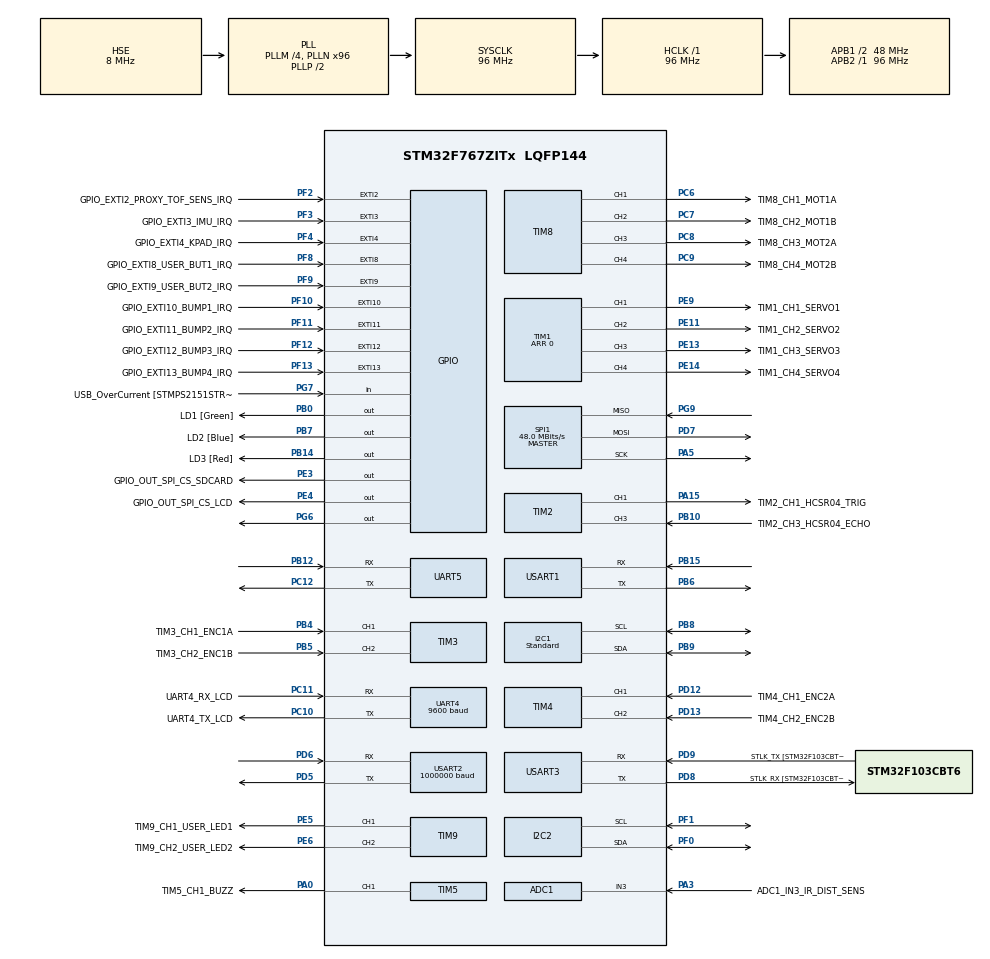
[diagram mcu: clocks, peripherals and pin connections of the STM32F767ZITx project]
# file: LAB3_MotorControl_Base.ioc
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ADC1.Channel-1\#ChannelRegularConversion=ADC_CHANNEL_3
ADC1.NbrOfConversionFlag=1
ADC1.Rank-1\#ChannelRegularConversion=1
ADC1.SamplingTime-1\#ChannelRegularConversion=ADC_SAMPLETIME_3CYCLES
ADC1.master=1
I2C1.I2C_Speed_Mode=I2C_Standard
I2C1.Timing=0x20303E5D
I2C2.Timing=0x20303E5D
Mcu.Family=STM32F7
Mcu.Name=STM32F767ZITx
Mcu.Package=LQFP144
Mcu.UserConstants=TIM3_ARR_VALUE,3839;TIM4_ARR_VALUE,3839;TIM8_PSC_VALUE,959;TIM8_ARR_VALUE,399;TIM6_PSC_VALUE,959;TIM6_ARR_VALUE,999;TIM1_PSC_VALUE,959;TIM1_ARR_VALUE,1999
NVIC.PriorityGroup=NVIC_PRIORITYGROUP_4
NVIC.TIM6_DAC_IRQn=true\:1\:0\:true\:false\:true\:true\:true\:true
PA0/WKUP.GPIO_Label=TIM5_CH1_BUZZ
PA0/WKUP.Signal=S_TIM5_CH1
PA1.GPIO_Label=RMII_REF_CLK [LAN8742A-CZ-TR_REFCLK0]
PA1.Signal=ETH_REF_CLK
PA10.GPIO_Label=USB_ID
PA10.Signal=USB_OTG_FS_ID
PA11.GPIO_Label=USB_DM
PA11.Signal=USB_OTG_FS_DM
PA12.GPIO_Label=USB_DP
PA12.Signal=USB_OTG_FS_DP
PA13.GPIO_Label=TMS
PA13.Mode=Serial_Wire
PA13.Signal=SYS_JTMS-SWDIO
PA14.GPIO_Label=TCK
PA14.Mode=Serial_Wire
PA14.Signal=SYS_JTCK-SWCLK
PA15.GPIO_Label=TIM2_CH1_HCSR04_TRIG
PA15.Signal=S_TIM2_CH1_ETR
PA2.GPIO_Label=RMII_MDIO [LAN8742A-CZ-TR_MDIO]
PA2.Signal=ETH_MDIO
PA3.GPIO_Label=ADC1_IN3_IR_DIST_SENS
PA3.Signal=ADCx_IN3
PA5.Mode=Full_Duplex_Master
PA5.Signal=SPI1_SCK
PA7.GPIO_Label=RMII_CRS_DV [LAN8742A-CZ-TR_CRS_DV]
PA7.Signal=ETH_CRS_DV
PA8.GPIO_Label=USB_SOF [TP1]
PA8.Signal=USB_OTG_FS_SOF
PA9.GPIO_Label=USB_VBUS
PA9.Signal=USB_OTG_FS_VBUS
PB0.GPIO_Label=LD1 [Green]
PB0.Signal=GPIO_Output
PB10.GPIO_Label=TIM2_CH3_HCSR04_ECHO
PB10.Signal=S_TIM2_CH3
PB12.Mode=Asynchronous
PB12.Signal=UART5_RX
PB13.GPIO_Label=RMII_TXD1 [LAN8742A-CZ-TR_TXD1]
PB13.Signal=ETH_TXD1
PB14.GPIO_Label=LD3 [Red]
PB14.Signal=GPIO_Output
PB15.Mode=Asynchronous
PB15.Signal=USART1_RX
PB3.GPIO_Label=SWO
PB3.Signal=SYS_JTDO-SWO
PB4.GPIO_Label=TIM3_CH1_ENC1A
PB4.Signal=S_TIM3_CH1
PB5.GPIO_Label=TIM3_CH2_ENC1B
PB5.Signal=S_TIM3_CH2
PB6.Mode=Asynchronous
PB6.Signal=USART1_TX
PB7.GPIO_Label=LD2 [Blue]
PB7.Signal=GPIO_Output
PB8.GPIO_Pu=GPIO_PULLUP
PB8.Mode=I2C
PB8.Signal=I2C1_SCL
PB9.GPIO_Pu=GPIO_PULLUP
PB9.Mode=I2C
PB9.Signal=I2C1_SDA
PC1.GPIO_Label=RMII_MDC [LAN8742A-CZ-TR_MDC]
PC1.Signal=ETH_MDC
PC10.GPIO_Label=UART4_TX_LCD
PC10.Mode=Asynchronous
PC10.Signal=UART4_TX
PC11.GPIO_Label=UART4_RX_LCD
PC11.Mode=Asynchronous
PC11.Signal=UART4_RX
PC12.Mode=Asynchronous
PC12.Signal=UART5_TX
PC14/OSC32_IN.Mode=LSE-External-Oscillator
PC14/OSC32_IN.Signal=RCC_OSC32_IN
PC15/OSC32_OUT.Mode=LSE-External-Oscillator
PC15/OSC32_OUT.Signal=RCC_OSC32_OUT
PC4.GPIO_Label=RMII_RXD0 [LAN8742A-CZ-TR_RXD0]
PC4.Signal=ETH_RXD0
PC5.GPIO_Label=RMII_RXD1 [LAN8742A-CZ-TR_RXD1]
PC5.Signal=ETH_RXD1
PC6.GPIO_Label=TIM8_CH1_MOT1A
PC6.Signal=S_TIM8_CH1
PC7.GPIO_Label=TIM8_CH2_MOT1B
PC7.Signal=S_TIM8_CH2
PC8.GPIO_Label=TIM8_CH3_MOT2A
PC8.Signal=S_TIM8_CH3
PC9.GPIO_Label=TIM8_CH4_MOT2B
PC9.Signal=S_TIM8_CH4
PD12.GPIO_Label=TIM4_CH1_ENC2A
PD12.Signal=S_TIM4_CH1
PD13.GPIO_Label=TIM4_CH2_ENC2B
PD13.Signal=S_TIM4_CH2
PD5.Mode=Asynchronous
PD5.Signal=USART2_TX
PD6.Mode=Asynchronous
PD6.Signal=USART2_RX
PD7.Mode=Full_Duplex_Master
PD7.Signal=SPI1_MOSI
PD8.GPIO_Label=STLK_RX [STM32F103CBT6_PA3]
PD8.Mode=Asynchronous
PD8.Signal=USART3_TX
PD9.GPIO_Label=STLK_TX [STM32F103CBT6_PA2]
PD9.Mode=Asynchronous
PD9.Signal=USART3_RX
PE11.GPIO_Label=TIM1_CH2_SERVO2
PE11.Signal=S_TIM1_CH2
PE13.GPIO_Label=TIM1_CH3_SERVO3
PE13.Signal=S_TIM1_CH3
PE14.GPIO_Label=TIM1_CH4_SERVO4
PE14.Signal=S_TIM1_CH4
PE3.GPIO_Label=GPIO_OUT_SPI_CS_SDCARD
PE3.Signal=GPIO_Output
PE4.GPIO_Label=GPIO_OUT_SPI_CS_LCD
PE4.Signal=GPIO_Output
PE5.GPIO_Label=TIM9_CH1_USER_LED1
PE5.Signal=S_TIM9_CH1
PE6.GPIO_Label=TIM9_CH2_USER_LED2
PE6.Signal=S_TIM9_CH2
PE9.GPIO_Label=TIM1_CH1_SERVO1
PE9.Signal=S_TIM1_CH1
PF0.GPIO_Pu=GPIO_PULLUP
PF0.Mode=I2C
PF0.Signal=I2C2_SDA
PF1.GPIO_Pu=GPIO_PULLUP
PF1.Mode=I2C
PF1.Signal=I2C2_SCL
PF10.GPIO_Label=GPIO_EXTI10_BUMP1_IRQ
PF10.Signal=GPXTI10
PF11.GPIO_Label=GPIO_EXTI11_BUMP2_IRQ
PF11.Signal=GPXTI11
PF12.GPIO_Label=GPIO_EXTI12_BUMP3_IRQ
PF12.Signal=GPXTI12
PF13.GPIO_Label=GPIO_EXTI13_BUMP4_IRQ
PF13.Signal=GPXTI13
PF2.GPIO_Label=GPIO_EXTI2_PROXY_TOF_SENS_IRQ
PF2.Signal=GPXTI2
PF3.GPIO_Label=GPIO_EXTI3_IMU_IRQ
PF3.Signal=GPXTI3
PF4.GPIO_Label=GPIO_EXTI4_KPAD_IRQ
PF4.Signal=GPXTI4
PF8.GPIO_Label=GPIO_EXTI8_USER_BUT1_IRQ
PF8.Signal=GPXTI8
PF9.GPIO_Label=GPIO_EXTI9_USER_BUT2_IRQ
PF9.Signal=GPXTI9
PG11.GPIO_Label=RMII_TX_EN [LAN8742A-CZ-TR_TXEN]
PG11.Signal=ETH_TX_EN
PG13.GPIO_Label=RMII_TXD0 [LAN8742A-CZ-TR_TXD0]
PG13.Signal=ETH_TXD0
PG6.Signal=GPIO_Output
PG7.GPIO_Label=USB_OverCurrent [STMPS2151STR_FAULT]
PG7.Signal=GPIO_Input
PG9.Mode=Full_Duplex_Master
PG9.Signal=SPI1_MISO
PH0/OSC_IN.GPIO_Label=MCO [STM32F103CBT6_PA8]
PH0/OSC_IN.Mode=HSE-External-Clock-Source
PH0/OSC_IN.Signal=RCC_OSC_IN
PH1/OSC_OUT.Mode=HSE-External-Clock-Source
PH1/OSC_OUT.Signal=RCC_OSC_OUT
ProjectManager.HeapSize=0x200
ProjectManager.StackSize=0x400
ProjectManager.TargetToolchain=STM32CubeIDE
RCC.48MHZClocksFreq_Value=24000000
RCC.AHBFreq_Value=96000000
RCC.APB1CLKDivider=RCC_HCLK_DIV2
RCC.APB1Freq_Value=48000000
RCC.APB1TimFreq_Value=96000000
RCC.APB2Freq_Value=96000000
RCC.APB2TimFreq_Value=96000000
RCC.CortexFreq_Value=96000000
RCC.HCLKFreq_Value=96000000
RCC.HSE_VALUE=8000000
RCC.HSI_VALUE=16000000
RCC.PLLM=4
RCC.PLLMUL=RCC_PLL_MUL9
RCC.PLLN=96
RCC.PLLQ=4
RCC.PLLSourceVirtual=RCC_PLLSOURCE_HSE
RCC.PRESCALERUSB=RCC_USBCLKSOURCE_PLL_DIV1_5
RCC.SYSCLKFreq_VALUE=96000000
RCC.SYSCLKSource=RCC_SYSCLKSOURCE_PLLCLK
RCC.SYSCLKSourceVirtual=RCC_SYSCLKSOURCE_PLLCLK
RCC.USBFreq_Value=48000000
RCC.VCOOutputFreq_Value=192000000
SH.ADCx_IN3.0=ADC1_IN3,IN3
SH.S_TIM1_CH1.0=TIM1_CH1,Forced Output1 CH1
SH.S_TIM1_CH2.0=TIM1_CH2,Forced Output2 CH2
SH.S_TIM1_CH3.0=TIM1_CH3,Forced Output3 CH3
SH.S_TIM1_CH4.0=TIM1_CH4,Forced Output4 CH4
SH.S_TIM2_CH1_ETR.0=TIM2_CH1,PWM Generation1 CH1
SH.S_TIM2_CH3.0=TIM2_CH3,Input_Capture3_from_TI3
SH.S_TIM3_CH1.0=TIM3_CH1,Encoder_Interface
SH.S_TIM3_CH2.0=TIM3_CH2,Encoder_Interface
SH.S_TIM4_CH1.0=TIM4_CH1,Encoder_Interface
SH.S_TIM4_CH2.0=TIM4_CH2,Encoder_Interface
SH.S_TIM5_CH1.0=TIM5_CH1,PWM Generation1 CH1
SH.S_TIM8_CH1.0=TIM8_CH1,PWM Generation1 CH1
SH.S_TIM8_CH2.0=TIM8_CH2,PWM Generation2 CH2
SH.S_TIM8_CH3.0=TIM8_CH3,PWM Generation3 CH3
SH.S_TIM8_CH4.0=TIM8_CH4,PWM Generation4 CH4
SH.S_TIM9_CH1.0=TIM9_CH1,PWM Generation1 CH1
SH.S_TIM9_CH2.0=TIM9_CH2,PWM Generation2 CH2
SPI1.CalculateBaudRate=48.0 MBits/s
SPI1.Direction=SPI_DIRECTION_2LINES
SPI1.Mode=SPI_MODE_MASTER
SPI1.VirtualType=VM_MASTER
TIM1.Channel-Forced\ Output1\ CH1=TIM_CHANNEL_1
TIM1.Channel-Forced\ Output2\ CH2=TIM_CHANNEL_2
TIM1.Channel-Forced\ Output3\ CH3=TIM_CHANNEL_3
TIM1.Channel-Forced\ Output4\ CH4=TIM_CHANNEL_4
TIM1.OCPolarity_1=TIM_OCPOLARITY_LOW
TIM1.OCPolarity_2=TIM_OCPOLARITY_LOW
TIM1.OCPolarity_3=TIM_OCPOLARITY_LOW
TIM1.OCPolarity_4=TIM_OCPOLARITY_LOW
TIM1.Period=0
TIM2.Channel-Input_Capture3_from_TI3=TIM_CHANNEL_3
TIM2.Channel-PWM\ Generation1\ CH1=TIM_CHANNEL_1
TIM3.EncoderMode=TIM_ENCODERMODE_TI12
TIM3.IC1Filter=15
TIM3.IC2Filter=15
TIM3.Period=TIM3_ARR_VALUE
TIM4.EncoderMode=TIM_ENCODERMODE_TI12
TIM4.IC1Filter=15
TIM4.IC2Filter=15
TIM4.Period=TIM4_ARR_VALUE
TIM5.Channel-PWM\ Generation1\ CH1=TIM_CHANNEL_1
TIM6.Period=TIM6_ARR_VALUE
TIM6.Prescaler=TIM6_PSC_VALUE
TIM8.Channel-PWM\ Generation1\ CH1=TIM_CHANNEL_1
TIM8.Channel-PWM\ Generation2\ CH2=TIM_CHANNEL_2
TIM8.Channel-PWM\ Generation3\ CH3=TIM_CHANNEL_3
TIM8.Channel-PWM\ Generation4\ CH4=TIM_CHANNEL_4
TIM8.Period=TIM8_ARR_VALUE
TIM8.Prescaler=TIM8_PSC_VALUE
TIM9.Channel-PWM\ Generation1\ CH1=TIM_CHANNEL_1
TIM9.Channel-PWM\ Generation2\ CH2=TIM_CHANNEL_2
UART4.BaudRate=9600
USART1.VirtualMode-Asynchronous=VM_ASYNC
USART2.BaudRate=1000000
USART2.VirtualMode-Asynchronous=VM_ASYNC
USART3.VirtualMode-Asynchronous=VM_ASYNC
VP_TIM1_VS_ClockSourceINT.Mode=Internal
VP_TIM2_VS_ClockSourceINT.Mode=Internal
VP_TIM5_VS_ClockSourceINT.Mode=Internal
VP_TIM6_VS_ClockSourceINT.Mode=Enable_Timer
VP_TIM8_VS_ClockSourceINT.Mode=Internal
board=NUCLEO-F767ZI

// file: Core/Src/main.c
/* USER CODE BEGIN Header */
/**
  ******************************************************************************
  * @file           : main.c
  * @brief          : Main program body
  ******************************************************************************
  * @attention
  *
  * <h2><center>&copy; Copyright (c) 2021 STMicroelectronics.
  * All rights reserved.</center></h2>
  *
  * This software component is licensed by ST under BSD 3-Clause license,
  * the "License"; You may not use this file except in compliance with the
  * License. You may obtain a copy of the License at:
  *                        opensource.org/licenses/BSD-3-Clause
  *
  ******************************************************************************
  */
/* USER CODE END Header */
#include "main.h"

/* USER CODE BEGIN Includes */
#include <math.h>
#include <stdbool.h>
#include "ertc-datalogger.h"
/* USER CODE END Includes */

/* USER CODE BEGIN PD */
//#define	HAL_TIMEOUT		1
#define TS	0.01

#define VBATT	8.0
#define V2DUTY	((float)(TIM8_ARR_VALUE+1)/VBATT)
#define DUTY2V	((float)VBATT/(TIM8_ARR_VALUE+1))

#define RPM2RADS	2*M_PI/60

#define TIM3_ARR_VALUE 3840 // assuming we are using 4X encoder mode
#define TIM4_ARR_VALUE 3840 // assuming we are using 4X encoder mode

/* USER CODE END PD */

ADC_HandleTypeDef hadc1;

I2C_HandleTypeDef hi2c1;
I2C_HandleTypeDef hi2c2;

SPI_HandleTypeDef hspi1;

TIM_HandleTypeDef htim1;
TIM_HandleTypeDef htim2;
TIM_HandleTypeDef htim3;
TIM_HandleTypeDef htim4;
TIM_HandleTypeDef htim5;
TIM_HandleTypeDef htim6;
TIM_HandleTypeDef htim8;
TIM_HandleTypeDef htim9;

UART_HandleTypeDef huart4;
UART_HandleTypeDef huart5;
UART_HandleTypeDef huart1;
UART_HandleTypeDef huart2;
UART_HandleTypeDef huart3;

/* USER CODE BEGIN PV */
struct ertc_dlog logger;
/* USER CODE END PV */

void SystemClock_Config(void);
static void MX_GPIO_Init(void);
static void MX_USART3_UART_Init(void);
static void MX_ADC1_Init(void);
static void MX_I2C1_Init(void);
static void MX_I2C2_Init(void);
static void MX_SPI1_Init(void);
static void MX_TIM1_Init(void);
static void MX_TIM2_Init(void);
static void MX_TIM3_Init(void);
static void MX_TIM4_Init(void);
static void MX_TIM5_Init(void);
static void MX_TIM8_Init(void);
static void MX_UART4_Init(void);
static void MX_UART5_Init(void);
static void MX_USART1_UART_Init(void);
static void MX_USART2_UART_Init(void);
static void MX_TIM9_Init(void);
static void MX_TIM6_Init(void);
/* USER CODE BEGIN PFP */

float PI_controller (float error);

/* USER CODE END PFP */

/* USER CODE BEGIN 0 */
float controller_return_R ,motor_V_R  ,tracking_error_R;
float controller_return_L ,motor_V_L ,tracking_error_L;
float reference_rpm_R = 20 , reference_rpm_L = 20;

struct datalog {
	float w1, w2 , u1, u2;
	float x1, x2 , y1, y2;
} data;

void HAL_TIM_PeriodElapsedCallback(TIM_HandleTypeDef *htim)
{
	/* Speed ctrl routine */
	if(htim->Instance == TIM6)
	{
		uint32_t TIM3_CurrentCount , TIM4_CurrentCount;
				int32_t TIM3_DiffCount , TIM4_DiffCount;
				static uint32_t TIM3_PreviousCount = 0, TIM4_PreviousCount = 0;

		    // read the counter value from the encoder
				TIM3_CurrentCount = __HAL_TIM_GET_COUNTER(&htim3);
				TIM4_CurrentCount = __HAL_TIM_GET_COUNTER(&htim4);

		    //compute the difference between the current value and the old value
				/*  evaluate increment of TIM3 counter from previous count  */
				if (__HAL_TIM_IS_TIM_COUNTING_DOWN(&htim3)) // right motor
				{
					/* check for counter underflow */
					if (TIM3_CurrentCount <= TIM3_PreviousCount)
						TIM3_DiffCount = TIM3_CurrentCount - TIM3_PreviousCount;
					else
						TIM3_DiffCount = -((TIM3_ARR_VALUE+1) - TIM3_CurrentCount) - TIM3_PreviousCount;
				}
				else
				{
				  /* check for counter overflow */
					if (TIM3_CurrentCount >= TIM3_PreviousCount)
						TIM3_DiffCount = TIM3_CurrentCount - TIM3_PreviousCount;
					else
						TIM3_DiffCount = ((TIM3_ARR_VALUE+1) - TIM3_PreviousCount) + TIM3_CurrentCount;
				}

				TIM3_PreviousCount = TIM3_CurrentCount;

				/*  evaluate increment of TIM4 counter from previous count  */
				if (__HAL_TIM_IS_TIM_COUNTING_DOWN(&htim4)) // left motor
				{
					/* check for counter underflow */
					if (TIM4_CurrentCount <= TIM4_PreviousCount)
						TIM4_DiffCount = TIM4_CurrentCount - TIM4_PreviousCount;
					else
						TIM4_DiffCount = -((TIM4_ARR_VALUE+1) - TIM4_CurrentCount) - TIM4_PreviousCount;
				}
				else
				{
				/* check for counter overflow */
					if (TIM4_CurrentCount >= TIM4_PreviousCount)
						TIM4_DiffCount = TIM4_CurrentCount - TIM4_PreviousCount;
					else
						TIM4_DiffCount = ((TIM4_ARR_VALUE+1) - TIM4_PreviousCount) + TIM4_CurrentCount;
				}

				TIM4_PreviousCount = TIM4_CurrentCount;

		    // compute the motor speed in [rpm]
				float current_rpm_R = ((float)TIM3_DiffCount/(2.0*1920.0))*(60.0/TS );
			  tracking_error_R = reference_rpm_R - current_rpm_R;

				float current_rpm_L = ((float)TIM4_DiffCount/(2.0*1920.0))*(60.0/TS );
			  tracking_error_L = reference_rpm_L - current_rpm_L;

		    // compute the tracking error via PI controller
		    controller_return_R = PI_controller(tracking_error_R);
		    controller_return_L = PI_controller(tracking_error_L);

		    motor_V_R = controller_return_R;
		    motor_V_L = controller_return_L;

			     //anti windup

				if(motor_V_R > 4)
					motor_V_R = 4;
				if(motor_V_R < -4)
					motor_V_R = -4;

			    if(motor_V_L > 4)
			    	motor_V_L = 4;
			    if(motor_V_L < -4)
			    	motor_V_L = -4;

		    // calculate duty cycle for motor
		    int32_t duty_R = V2DUTY*motor_V_R;
		    int32_t duty_L = V2DUTY*motor_V_L;

		    if (duty_R > 399)
		      duty_R = 399;

				/* calculate duty properly */
				if (duty_R >= 0) { // rotate forward
					// alternate between forward and coast
					//__HAL_TIM_SET_COMPARE(&htim8, TIM_CHANNEL_1, (uint32_t)duty_R);
					//__HAL_TIM_SET_COMPARE(&htim8, TIM_CHANNEL_2, 0);

					// alternate between forward and brake, TIM8_ARR_VALUE is a define
					__HAL_TIM_SET_COMPARE(&htim8, TIM_CHANNEL_1, (uint32_t)TIM8_ARR_VALUE);
					__HAL_TIM_SET_COMPARE(&htim8, TIM_CHANNEL_2, (uint32_t)(TIM8_ARR_VALUE - duty_R));
				} else { // rotate backward
					__HAL_TIM_SET_COMPARE(&htim8, TIM_CHANNEL_1, 0);
					__HAL_TIM_SET_COMPARE(&htim8, TIM_CHANNEL_2, (uint32_t)-duty_R);
				}

		    if (duty_L > 399)
		          duty_L = 399;

				/* calculate duty properly */
				if (duty_L >= 0) { // rotate forward
					// alternate between forward and coast
					//__HAL_TIM_SET_COMPARE(&htim8, TIM_CHANNEL_3, (uint32_t)duty_L);
			    //__HAL_TIM_SET_COMPARE(&htim8, TIM_CHANNEL_4, 0);

					// alternate between forward and brake, TIM8_ARR_VALUE is a define
					__HAL_TIM_SET_COMPARE(&htim8, TIM_CHANNEL_3, (uint32_t)TIM8_ARR_VALUE);
					__HAL_TIM_SET_COMPARE(&htim8, TIM_CHANNEL_4, (uint32_t)(TIM8_ARR_VALUE - duty_L));
				} else { // rotate backward
					__HAL_TIM_SET_COMPARE(&htim8, TIM_CHANNEL_3, 0);
					__HAL_TIM_SET_COMPARE(&htim8, TIM_CHANNEL_4, (uint32_t)-duty_L);
				}

     	/*	Prepare data packet */
		data.w1 = reference_rpm_R;
		data.w2 = current_rpm_R;
		data.u1 = tracking_error_R;
		data.u2 = controller_return_R;

		data.x1 = reference_rpm_L;
		data.x2 = current_rpm_L;
		data.y1 = tracking_error_L;
		data.y2 = controller_return_L;

		ertc_dlog_send(&logger, &data, sizeof(data));
	}
}

float Kp = 0.34;
float KI = 0.2;

float PI_controller (float error){
	float P = Kp * error;
	static float I = 0;
	I = I + error * KI * TS;
	if(I>10){ // anti windup
		I=10;
	}
	return P + I;
}
/* USER CODE END 0 */

int main(void)
{

  /* MCU Configuration--------------------------------------------------------*/

  /* Reset of all peripherals, Initializes the Flash interface and the Systick. */
  HAL_Init();

  /* Configure the system clock */
  SystemClock_Config();

  /* Initialize all configured peripherals */
  MX_GPIO_Init();
  MX_USART3_UART_Init();
  MX_ADC1_Init();
  MX_I2C1_Init();
  MX_I2C2_Init();
  MX_SPI1_Init();
  MX_TIM1_Init();
  MX_TIM2_Init();
  MX_TIM3_Init();
  MX_TIM4_Init();
  MX_TIM5_Init();
  MX_TIM8_Init();
  MX_UART4_Init();
  MX_UART5_Init();
  MX_USART1_UART_Init();
  MX_USART2_UART_Init();
  MX_TIM9_Init();
  MX_TIM6_Init();
  /* USER CODE BEGIN 2 */

  logger.uart_handle = huart3; // for serial
  //logger.uart_handle = huart2; // for wifi

  /* Reset LCD */
  HAL_GPIO_WritePin(GPIO_OUT_SPI_CS_LCD_GPIO_Port, GPIO_OUT_SPI_CS_LCD_Pin, GPIO_PIN_SET);

  HAL_Delay(1000);

  /* Start encoders timers */
  HAL_TIM_Encoder_Start(&htim3, TIM_CHANNEL_ALL);
  HAL_TIM_Encoder_Start(&htim4, TIM_CHANNEL_ALL);

  /* Start servomotors PWM (avoid floating inputs to servomotors) */
  HAL_TIM_PWM_Start(&htim1, TIM_CHANNEL_1);
  HAL_TIM_PWM_Start(&htim1, TIM_CHANNEL_2);
  HAL_TIM_PWM_Start(&htim1, TIM_CHANNEL_3);
  HAL_TIM_PWM_Start(&htim1, TIM_CHANNEL_4);

  /* Start motor PWM */
  __HAL_TIM_SET_COMPARE(&htim8, TIM_CHANNEL_1, 0);
  __HAL_TIM_SET_COMPARE(&htim8, TIM_CHANNEL_2, 0);
  __HAL_TIM_SET_COMPARE(&htim8, TIM_CHANNEL_3, 0);
  __HAL_TIM_SET_COMPARE(&htim8, TIM_CHANNEL_4, 0);

  HAL_TIM_PWM_Start(&htim8, TIM_CHANNEL_1);
  HAL_TIM_PWM_Start(&htim8, TIM_CHANNEL_2);
  HAL_TIM_PWM_Start(&htim8, TIM_CHANNEL_3);
  HAL_TIM_PWM_Start(&htim8, TIM_CHANNEL_4);

  /* Start speed ctrl ISR */
  HAL_TIM_Base_Start_IT(&htim6);

  /* USER CODE END 2 */

  /* Infinite loop */
  while (1)
  {

    /* USER CODE BEGIN 3 */
	  ertc_dlog_update(&logger);

  }
  /* USER CODE END 3 */
}

void SystemClock_Config(void)
{
  RCC_OscInitTypeDef RCC_OscInitStruct = {0};
  RCC_ClkInitTypeDef RCC_ClkInitStruct = {0};

  /** Configure LSE Drive Capability
  */
  HAL_PWR_EnableBkUpAccess();

  /** Configure the main internal regulator output voltage
  */
  __HAL_RCC_PWR_CLK_ENABLE();
  __HAL_PWR_VOLTAGESCALING_CONFIG(PWR_REGULATOR_VOLTAGE_SCALE3);

  /** Initializes the RCC Oscillators according to the specified parameters
  * in the RCC_OscInitTypeDef structure.
  */
  RCC_OscInitStruct.OscillatorType = RCC_OSCILLATORTYPE_HSE;
  RCC_OscInitStruct.HSEState = RCC_HSE_BYPASS;
  RCC_OscInitStruct.PLL.PLLState = RCC_PLL_ON;
  RCC_OscInitStruct.PLL.PLLSource = RCC_PLLSOURCE_HSE;
  RCC_OscInitStruct.PLL.PLLM = 4;
  RCC_OscInitStruct.PLL.PLLN = 96;
  RCC_OscInitStruct.PLL.PLLP = RCC_PLLP_DIV2;
  RCC_OscInitStruct.PLL.PLLQ = 4;
  RCC_OscInitStruct.PLL.PLLR = 2;
  if (HAL_RCC_OscConfig(&RCC_OscInitStruct) != HAL_OK)
  {
    Error_Handler();
  }

  /** Activate the Over-Drive mode
  */
  if (HAL_PWREx_EnableOverDrive() != HAL_OK)
  {
    Error_Handler();
  }

  /** Initializes the CPU, AHB and APB buses clocks
  */
  RCC_ClkInitStruct.ClockType = RCC_CLOCKTYPE_HCLK|RCC_CLOCKTYPE_SYSCLK
                              |RCC_CLOCKTYPE_PCLK1|RCC_CLOCKTYPE_PCLK2;
  RCC_ClkInitStruct.SYSCLKSource = RCC_SYSCLKSOURCE_PLLCLK;
  RCC_ClkInitStruct.AHBCLKDivider = RCC_SYSCLK_DIV1;
  RCC_ClkInitStruct.APB1CLKDivider = RCC_HCLK_DIV2;
  RCC_ClkInitStruct.APB2CLKDivider = RCC_HCLK_DIV1;

  if (HAL_RCC_ClockConfig(&RCC_ClkInitStruct, FLASH_LATENCY_3) != HAL_OK)
  {
    Error_Handler();
  }
}

static void MX_ADC1_Init(void)
{

  ADC_ChannelConfTypeDef sConfig = {0};

  /** Configure the global features of the ADC (Clock, Resolution, Data Alignment and number of conversion)
  */
  hadc1.Instance = ADC1;
  hadc1.Init.ClockPrescaler = ADC_CLOCK_SYNC_PCLK_DIV4;
  hadc1.Init.Resolution = ADC_RESOLUTION_12B;
  hadc1.Init.ScanConvMode = ADC_SCAN_DISABLE;
  hadc1.Init.ContinuousConvMode = DISABLE;
  hadc1.Init.DiscontinuousConvMode = DISABLE;
  hadc1.Init.ExternalTrigConvEdge = ADC_EXTERNALTRIGCONVEDGE_NONE;
  hadc1.Init.ExternalTrigConv = ADC_SOFTWARE_START;
  hadc1.Init.DataAlign = ADC_DATAALIGN_RIGHT;
  hadc1.Init.NbrOfConversion = 1;
  hadc1.Init.DMAContinuousRequests = DISABLE;
  hadc1.Init.EOCSelection = ADC_EOC_SINGLE_CONV;
  if (HAL_ADC_Init(&hadc1) != HAL_OK)
  {
    Error_Handler();
  }

  /** Configure for the selected ADC regular channel its corresponding rank in the sequencer and its sample time.
  */
  sConfig.Channel = ADC_CHANNEL_3;
  sConfig.Rank = ADC_REGULAR_RANK_1;
  sConfig.SamplingTime = ADC_SAMPLETIME_3CYCLES;
  if (HAL_ADC_ConfigChannel(&hadc1, &sConfig) != HAL_OK)
  {
    Error_Handler();
  }

}

static void MX_I2C1_Init(void)
{

  hi2c1.Instance = I2C1;
  hi2c1.Init.Timing = 0x20303E5D;
  hi2c1.Init.OwnAddress1 = 0;
  hi2c1.Init.AddressingMode = I2C_ADDRESSINGMODE_7BIT;
  hi2c1.Init.DualAddressMode = I2C_DUALADDRESS_DISABLE;
  hi2c1.Init.OwnAddress2 = 0;
  hi2c1.Init.OwnAddress2Masks = I2C_OA2_NOMASK;
  hi2c1.Init.GeneralCallMode = I2C_GENERALCALL_DISABLE;
  hi2c1.Init.NoStretchMode = I2C_NOSTRETCH_DISABLE;
  if (HAL_I2C_Init(&hi2c1) != HAL_OK)
  {
    Error_Handler();
  }

  /** Configure Analogue filter
  */
  if (HAL_I2CEx_ConfigAnalogFilter(&hi2c1, I2C_ANALOGFILTER_ENABLE) != HAL_OK)
  {
    Error_Handler();
  }

  /** Configure Digital filter
  */
  if (HAL_I2CEx_ConfigDigitalFilter(&hi2c1, 0) != HAL_OK)
  {
    Error_Handler();
  }

}

static void MX_I2C2_Init(void)
{

  hi2c2.Instance = I2C2;
  hi2c2.Init.Timing = 0x20303E5D;
  hi2c2.Init.OwnAddress1 = 0;
  hi2c2.Init.AddressingMode = I2C_ADDRESSINGMODE_7BIT;
  hi2c2.Init.DualAddressMode = I2C_DUALADDRESS_DISABLE;
  hi2c2.Init.OwnAddress2 = 0;
  hi2c2.Init.OwnAddress2Masks = I2C_OA2_NOMASK;
  hi2c2.Init.GeneralCallMode = I2C_GENERALCALL_DISABLE;
  hi2c2.Init.NoStretchMode = I2C_NOSTRETCH_DISABLE;
  if (HAL_I2C_Init(&hi2c2) != HAL_OK)
  {
    Error_Handler();
  }

  /** Configure Analogue filter
  */
  if (HAL_I2CEx_ConfigAnalogFilter(&hi2c2, I2C_ANALOGFILTER_ENABLE) != HAL_OK)
  {
    Error_Handler();
  }

  /** Configure Digital filter
  */
  if (HAL_I2CEx_ConfigDigitalFilter(&hi2c2, 0) != HAL_OK)
  {
    Error_Handler();
  }

}

static void MX_SPI1_Init(void)
{

  /* SPI1 parameter configuration*/
  hspi1.Instance = SPI1;
  hspi1.Init.Mode = SPI_MODE_MASTER;
  hspi1.Init.Direction = SPI_DIRECTION_2LINES;
  hspi1.Init.DataSize = SPI_DATASIZE_4BIT;
  hspi1.Init.CLKPolarity = SPI_POLARITY_LOW;
  hspi1.Init.CLKPhase = SPI_PHASE_1EDGE;
  hspi1.Init.NSS = SPI_NSS_SOFT;
  hspi1.Init.BaudRatePrescaler = SPI_BAUDRATEPRESCALER_2;
  hspi1.Init.FirstBit = SPI_FIRSTBIT_MSB;
  hspi1.Init.TIMode = SPI_TIMODE_DISABLE;
  hspi1.Init.CRCCalculation = SPI_CRCCALCULATION_DISABLE;
  hspi1.Init.CRCPolynomial = 7;
  hspi1.Init.CRCLength = SPI_CRC_LENGTH_DATASIZE;
  hspi1.Init.NSSPMode = SPI_NSS_PULSE_ENABLE;
  if (HAL_SPI_Init(&hspi1) != HAL_OK)
  {
    Error_Handler();
  }

}

static void MX_TIM1_Init(void)
{

  TIM_ClockConfigTypeDef sClockSourceConfig = {0};
  TIM_MasterConfigTypeDef sMasterConfig = {0};
  TIM_OC_InitTypeDef sConfigOC = {0};
  TIM_BreakDeadTimeConfigTypeDef sBreakDeadTimeConfig = {0};

  htim1.Instance = TIM1;
  htim1.Init.Prescaler = 0;
  htim1.Init.CounterMode = TIM_COUNTERMODE_UP;
  htim1.Init.Period = 0;
  htim1.Init.ClockDivision = TIM_CLOCKDIVISION_DIV1;
  htim1.Init.RepetitionCounter = 0;
  htim1.Init.AutoReloadPreload = TIM_AUTORELOAD_PRELOAD_DISABLE;
  if (HAL_TIM_Base_Init(&htim1) != HAL_OK)
  {
    Error_Handler();
  }
  sClockSourceConfig.ClockSource = TIM_CLOCKSOURCE_INTERNAL;
  if (HAL_TIM_ConfigClockSource(&htim1, &sClockSourceConfig) != HAL_OK)
  {
    Error_Handler();
  }
  if (HAL_TIM_OC_Init(&htim1) != HAL_OK)
  {
    Error_Handler();
  }
  sMasterConfig.MasterOutputTrigger = TIM_TRGO_RESET;
  sMasterConfig.MasterOutputTrigger2 = TIM_TRGO2_RESET;
  sMasterConfig.MasterSlaveMode = TIM_MASTERSLAVEMODE_DISABLE;
  if (HAL_TIMEx_MasterConfigSynchronization(&htim1, &sMasterConfig) != HAL_OK)
  {
    Error_Handler();
  }
  sConfigOC.OCMode = TIM_OCMODE_FORCED_ACTIVE;
  sConfigOC.Pulse = 0;
  sConfigOC.OCPolarity = TIM_OCPOLARITY_LOW;
  sConfigOC.OCNPolarity = TIM_OCNPOLARITY_HIGH;
  sConfigOC.OCFastMode = TIM_OCFAST_DISABLE;
  sConfigOC.OCIdleState = TIM_OCIDLESTATE_RESET;
  sConfigOC.OCNIdleState = TIM_OCNIDLESTATE_RESET;
  if (HAL_TIM_OC_ConfigChannel(&htim1, &sConfigOC, TIM_CHANNEL_1) != HAL_OK)
  {
    Error_Handler();
  }
  if (HAL_TIM_OC_ConfigChannel(&htim1, &sConfigOC, TIM_CHANNEL_2) != HAL_OK)
  {
    Error_Handler();
  }
  if (HAL_TIM_OC_ConfigChannel(&htim1, &sConfigOC, TIM_CHANNEL_3) != HAL_OK)
  {
    Error_Handler();
  }
  if (HAL_TIM_OC_ConfigChannel(&htim1, &sConfigOC, TIM_CHANNEL_4) != HAL_OK)
  {
    Error_Handler();
  }
  sBreakDeadTimeConfig.OffStateRunMode = TIM_OSSR_DISABLE;
  sBreakDeadTimeConfig.OffStateIDLEMode = TIM_OSSI_DISABLE;
  sBreakDeadTimeConfig.LockLevel = TIM_LOCKLEVEL_OFF;
  sBreakDeadTimeConfig.DeadTime = 0;
  sBreakDeadTimeConfig.BreakState = TIM_BREAK_DISABLE;
  sBreakDeadTimeConfig.BreakPolarity = TIM_BREAKPOLARITY_HIGH;
  sBreakDeadTimeConfig.BreakFilter = 0;
  sBreakDeadTimeConfig.Break2State = TIM_BREAK2_DISABLE;
  sBreakDeadTimeConfig.Break2Polarity = TIM_BREAK2POLARITY_HIGH;
  sBreakDeadTimeConfig.Break2Filter = 0;
  sBreakDeadTimeConfig.AutomaticOutput = TIM_AUTOMATICOUTPUT_DISABLE;
  if (HAL_TIMEx_ConfigBreakDeadTime(&htim1, &sBreakDeadTimeConfig) != HAL_OK)
  {
    Error_Handler();
  }
  HAL_TIM_MspPostInit(&htim1);

}

static void MX_TIM2_Init(void)
{

  TIM_ClockConfigTypeDef sClockSourceConfig = {0};
  TIM_MasterConfigTypeDef sMasterConfig = {0};
  TIM_OC_InitTypeDef sConfigOC = {0};
  TIM_IC_InitTypeDef sConfigIC = {0};

  htim2.Instance = TIM2;
  htim2.Init.Prescaler = 0;
  htim2.Init.CounterMode = TIM_COUNTERMODE_UP;
  htim2.Init.Period = 4294967295;
  htim2.Init.ClockDivision = TIM_CLOCKDIVISION_DIV1;
  htim2.Init.AutoReloadPreload = TIM_AUTORELOAD_PRELOAD_DISABLE;
  if (HAL_TIM_Base_Init(&htim2) != HAL_OK)
  {
    Error_Handler();
  }
  sClockSourceConfig.ClockSource = TIM_CLOCKSOURCE_INTERNAL;
  if (HAL_TIM_ConfigClockSource(&htim2, &sClockSourceConfig) != HAL_OK)
  {
    Error_Handler();
  }
  if (HAL_TIM_PWM_Init(&htim2) != HAL_OK)
  {
    Error_Handler();
  }
  if (HAL_TIM_IC_Init(&htim2) != HAL_OK)
  {
    Error_Handler();
  }
  sMasterConfig.MasterOutputTrigger = TIM_TRGO_RESET;
  sMasterConfig.MasterSlaveMode = TIM_MASTERSLAVEMODE_DISABLE;
  if (HAL_TIMEx_MasterConfigSynchronization(&htim2, &sMasterConfig) != HAL_OK)
  {
    Error_Handler();
  }
  sConfigOC.OCMode = TIM_OCMODE_PWM1;
  sConfigOC.Pulse = 0;
  sConfigOC.OCPolarity = TIM_OCPOLARITY_HIGH;
  sConfigOC.OCFastMode = TIM_OCFAST_DISABLE;
  if (HAL_TIM_PWM_ConfigChannel(&htim2, &sConfigOC, TIM_CHANNEL_1) != HAL_OK)
  {
    Error_Handler();
  }
  sConfigIC.ICPolarity = TIM_INPUTCHANNELPOLARITY_RISING;
  sConfigIC.ICSelection = TIM_ICSELECTION_DIRECTTI;
  sConfigIC.ICPrescaler = TIM_ICPSC_DIV1;
  sConfigIC.ICFilter = 0;
  if (HAL_TIM_IC_ConfigChannel(&htim2, &sConfigIC, TIM_CHANNEL_3) != HAL_OK)
  {
    Error_Handler();
  }
  HAL_TIM_MspPostInit(&htim2);

}

static void MX_TIM3_Init(void)
{

  TIM_Encoder_InitTypeDef sConfig = {0};
  TIM_MasterConfigTypeDef sMasterConfig = {0};

  htim3.Instance = TIM3;
  htim3.Init.Prescaler = 0;
  htim3.Init.CounterMode = TIM_COUNTERMODE_UP;
  htim3.Init.Period = TIM3_ARR_VALUE;
  htim3.Init.ClockDivision = TIM_CLOCKDIVISION_DIV1;
  htim3.Init.AutoReloadPreload = TIM_AUTORELOAD_PRELOAD_DISABLE;
  sConfig.EncoderMode = TIM_ENCODERMODE_TI12;
  sConfig.IC1Polarity = TIM_ICPOLARITY_RISING;
  sConfig.IC1Selection = TIM_ICSELECTION_DIRECTTI;
  sConfig.IC1Prescaler = TIM_ICPSC_DIV1;
  sConfig.IC1Filter = 15;
  sConfig.IC2Polarity = TIM_ICPOLARITY_RISING;
  sConfig.IC2Selection = TIM_ICSELECTION_DIRECTTI;
  sConfig.IC2Prescaler = TIM_ICPSC_DIV1;
  sConfig.IC2Filter = 15;
  if (HAL_TIM_Encoder_Init(&htim3, &sConfig) != HAL_OK)
  {
    Error_Handler();
  }
  sMasterConfig.MasterOutputTrigger = TIM_TRGO_RESET;
  sMasterConfig.MasterSlaveMode = TIM_MASTERSLAVEMODE_DISABLE;
  if (HAL_TIMEx_MasterConfigSynchronization(&htim3, &sMasterConfig) != HAL_OK)
  {
    Error_Handler();
  }

}

static void MX_TIM4_Init(void)
{

  TIM_Encoder_InitTypeDef sConfig = {0};
  TIM_MasterConfigTypeDef sMasterConfig = {0};

  htim4.Instance = TIM4;
  htim4.Init.Prescaler = 0;
  htim4.Init.CounterMode = TIM_COUNTERMODE_UP;
  htim4.Init.Period = TIM4_ARR_VALUE;
  htim4.Init.ClockDivision = TIM_CLOCKDIVISION_DIV1;
  htim4.Init.AutoReloadPreload = TIM_AUTORELOAD_PRELOAD_DISABLE;
  sConfig.EncoderMode = TIM_ENCODERMODE_TI12;
  sConfig.IC1Polarity = TIM_ICPOLARITY_RISING;
  sConfig.IC1Selection = TIM_ICSELECTION_DIRECTTI;
  sConfig.IC1Prescaler = TIM_ICPSC_DIV1;
  sConfig.IC1Filter = 15;
  sConfig.IC2Polarity = TIM_ICPOLARITY_RISING;
  sConfig.IC2Selection = TIM_ICSELECTION_DIRECTTI;
  sConfig.IC2Prescaler = TIM_ICPSC_DIV1;
  sConfig.IC2Filter = 15;
  if (HAL_TIM_Encoder_Init(&htim4, &sConfig) != HAL_OK)
  {
    Error_Handler();
  }
  sMasterConfig.MasterOutputTrigger = TIM_TRGO_RESET;
  sMasterConfig.MasterSlaveMode = TIM_MASTERSLAVEMODE_DISABLE;
  if (HAL_TIMEx_MasterConfigSynchronization(&htim4, &sMasterConfig) != HAL_OK)
  {
    Error_Handler();
  }

}

static void MX_TIM5_Init(void)
{

  TIM_ClockConfigTypeDef sClockSourceConfig = {0};
  TIM_MasterConfigTypeDef sMasterConfig = {0};
  TIM_OC_InitTypeDef sConfigOC = {0};

  htim5.Instance = TIM5;
  htim5.Init.Prescaler = 0;
  htim5.Init.CounterMode = TIM_COUNTERMODE_UP;
  htim5.Init.Period = 4294967295;
  htim5.Init.ClockDivision = TIM_CLOCKDIVISION_DIV1;
  htim5.Init.AutoReloadPreload = TIM_AUTORELOAD_PRELOAD_DISABLE;
  if (HAL_TIM_Base_Init(&htim5) != HAL_OK)
  {
    Error_Handler();
  }
  sClockSourceConfig.ClockSource = TIM_CLOCKSOURCE_INTERNAL;
  if (HAL_TIM_ConfigClockSource(&htim5, &sClockSourceConfig) != HAL_OK)
  {
    Error_Handler();
  }
  if (HAL_TIM_PWM_Init(&htim5) != HAL_OK)
  {
    Error_Handler();
  }
  sMasterConfig.MasterOutputTrigger = TIM_TRGO_RESET;
  sMasterConfig.MasterSlaveMode = TIM_MASTERSLAVEMODE_DISABLE;
  if (HAL_TIMEx_MasterConfigSynchronization(&htim5, &sMasterConfig) != HAL_OK)
  {
    Error_Handler();
  }
  sConfigOC.OCMode = TIM_OCMODE_PWM1;
  sConfigOC.Pulse = 0;
  sConfigOC.OCPolarity = TIM_OCPOLARITY_HIGH;
  sConfigOC.OCFastMode = TIM_OCFAST_DISABLE;
  if (HAL_TIM_PWM_ConfigChannel(&htim5, &sConfigOC, TIM_CHANNEL_1) != HAL_OK)
  {
    Error_Handler();
  }
  HAL_TIM_MspPostInit(&htim5);

}

static void MX_TIM6_Init(void)
{

  TIM_MasterConfigTypeDef sMasterConfig = {0};

  htim6.Instance = TIM6;
  htim6.Init.Prescaler = TIM6_PSC_VALUE;
  htim6.Init.CounterMode = TIM_COUNTERMODE_UP;
  htim6.Init.Period = TIM6_ARR_VALUE;
  htim6.Init.AutoReloadPreload = TIM_AUTORELOAD_PRELOAD_DISABLE;
  if (HAL_TIM_Base_Init(&htim6) != HAL_OK)
  {
    Error_Handler();
  }
  sMasterConfig.MasterOutputTrigger = TIM_TRGO_RESET;
  sMasterConfig.MasterSlaveMode = TIM_MASTERSLAVEMODE_DISABLE;
  if (HAL_TIMEx_MasterConfigSynchronization(&htim6, &sMasterConfig) != HAL_OK)
  {
    Error_Handler();
  }

}

static void MX_TIM8_Init(void)
{

  TIM_ClockConfigTypeDef sClockSourceConfig = {0};
  TIM_MasterConfigTypeDef sMasterConfig = {0};
  TIM_OC_InitTypeDef sConfigOC = {0};
  TIM_BreakDeadTimeConfigTypeDef sBreakDeadTimeConfig = {0};

  htim8.Instance = TIM8;
  htim8.Init.Prescaler = TIM8_PSC_VALUE;
  htim8.Init.CounterMode = TIM_COUNTERMODE_UP;
  htim8.Init.Period = TIM8_ARR_VALUE;
  htim8.Init.ClockDivision = TIM_CLOCKDIVISION_DIV1;
  htim8.Init.RepetitionCounter = 0;
  htim8.Init.AutoReloadPreload = TIM_AUTORELOAD_PRELOAD_DISABLE;
  if (HAL_TIM_Base_Init(&htim8) != HAL_OK)
  {
    Error_Handler();
  }
  sClockSourceConfig.ClockSource = TIM_CLOCKSOURCE_INTERNAL;
  if (HAL_TIM_ConfigClockSource(&htim8, &sClockSourceConfig) != HAL_OK)
  {
    Error_Handler();
  }
  if (HAL_TIM_PWM_Init(&htim8) != HAL_OK)
  {
    Error_Handler();
  }
  sMasterConfig.MasterOutputTrigger = TIM_TRGO_RESET;
  sMasterConfig.MasterOutputTrigger2 = TIM_TRGO2_RESET;
  sMasterConfig.MasterSlaveMode = TIM_MASTERSLAVEMODE_DISABLE;
  if (HAL_TIMEx_MasterConfigSynchronization(&htim8, &sMasterConfig) != HAL_OK)
  {
    Error_Handler();
  }
  sConfigOC.OCMode = TIM_OCMODE_PWM1;
  sConfigOC.Pulse = 0;
  sConfigOC.OCPolarity = TIM_OCPOLARITY_HIGH;
  sConfigOC.OCNPolarity = TIM_OCNPOLARITY_HIGH;
  sConfigOC.OCFastMode = TIM_OCFAST_DISABLE;
  sConfigOC.OCIdleState = TIM_OCIDLESTATE_RESET;
  sConfigOC.OCNIdleState = TIM_OCNIDLESTATE_RESET;
  if (HAL_TIM_PWM_ConfigChannel(&htim8, &sConfigOC, TIM_CHANNEL_1) != HAL_OK)
  {
    Error_Handler();
  }
  if (HAL_TIM_PWM_ConfigChannel(&htim8, &sConfigOC, TIM_CHANNEL_2) != HAL_OK)
  {
    Error_Handler();
  }
  if (HAL_TIM_PWM_ConfigChannel(&htim8, &sConfigOC, TIM_CHANNEL_3) != HAL_OK)
  {
    Error_Handler();
  }
  if (HAL_TIM_PWM_ConfigChannel(&htim8, &sConfigOC, TIM_CHANNEL_4) != HAL_OK)
  {
    Error_Handler();
  }
  sBreakDeadTimeConfig.OffStateRunMode = TIM_OSSR_DISABLE;
  sBreakDeadTimeConfig.OffStateIDLEMode = TIM_OSSI_DISABLE;
  sBreakDeadTimeConfig.LockLevel = TIM_LOCKLEVEL_OFF;
  sBreakDeadTimeConfig.DeadTime = 0;
  sBreakDeadTimeConfig.BreakState = TIM_BREAK_DISABLE;
  sBreakDeadTimeConfig.BreakPolarity = TIM_BREAKPOLARITY_HIGH;
  sBreakDeadTimeConfig.BreakFilter = 0;
  sBreakDeadTimeConfig.Break2State = TIM_BREAK2_DISABLE;
  sBreakDeadTimeConfig.Break2Polarity = TIM_BREAK2POLARITY_HIGH;
  sBreakDeadTimeConfig.Break2Filter = 0;
  sBreakDeadTimeConfig.AutomaticOutput = TIM_AUTOMATICOUTPUT_DISABLE;
  if (HAL_TIMEx_ConfigBreakDeadTime(&htim8, &sBreakDeadTimeConfig) != HAL_OK)
  {
    Error_Handler();
  }
  HAL_TIM_MspPostInit(&htim8);

}

static void MX_TIM9_Init(void)
{

  TIM_OC_InitTypeDef sConfigOC = {0};

  htim9.Instance = TIM9;
  htim9.Init.Prescaler = 0;
  htim9.Init.CounterMode = TIM_COUNTERMODE_UP;
  htim9.Init.Period = 65535;
  htim9.Init.ClockDivision = TIM_CLOCKDIVISION_DIV1;
  htim9.Init.AutoReloadPreload = TIM_AUTORELOAD_PRELOAD_DISABLE;
  if (HAL_TIM_PWM_Init(&htim9) != HAL_OK)
  {
    Error_Handler();
  }
  sConfigOC.OCMode = TIM_OCMODE_PWM1;
  sConfigOC.Pulse = 0;
  sConfigOC.OCPolarity = TIM_OCPOLARITY_HIGH;
  sConfigOC.OCFastMode = TIM_OCFAST_DISABLE;
  if (HAL_TIM_PWM_ConfigChannel(&htim9, &sConfigOC, TIM_CHANNEL_1) != HAL_OK)
  {
    Error_Handler();
  }
  if (HAL_TIM_PWM_ConfigChannel(&htim9, &sConfigOC, TIM_CHANNEL_2) != HAL_OK)
  {
    Error_Handler();
  }
  HAL_TIM_MspPostInit(&htim9);

}

static void MX_UART4_Init(void)
{

  huart4.Instance = UART4;
  huart4.Init.BaudRate = 9600;
  huart4.Init.WordLength = UART_WORDLENGTH_8B;
  huart4.Init.StopBits = UART_STOPBITS_1;
  huart4.Init.Parity = UART_PARITY_NONE;
  huart4.Init.Mode = UART_MODE_TX_RX;
  huart4.Init.HwFlowCtl = UART_HWCONTROL_NONE;
  huart4.Init.OverSampling = UART_OVERSAMPLING_16;
  huart4.Init.OneBitSampling = UART_ONE_BIT_SAMPLE_DISABLE;
  huart4.AdvancedInit.AdvFeatureInit = UART_ADVFEATURE_NO_INIT;
  if (HAL_UART_Init(&huart4) != HAL_OK)
  {
    Error_Handler();
  }

}

static void MX_UART5_Init(void)
{

  huart5.Instance = UART5;
  huart5.Init.BaudRate = 115200;
  huart5.Init.WordLength = UART_WORDLENGTH_8B;
  huart5.Init.StopBits = UART_STOPBITS_1;
  huart5.Init.Parity = UART_PARITY_NONE;
  huart5.Init.Mode = UART_MODE_TX_RX;
  huart5.Init.HwFlowCtl = UART_HWCONTROL_NONE;
  huart5.Init.OverSampling = UART_OVERSAMPLING_16;
  huart5.Init.OneBitSampling = UART_ONE_BIT_SAMPLE_DISABLE;
  huart5.AdvancedInit.AdvFeatureInit = UART_ADVFEATURE_NO_INIT;
  if (HAL_UART_Init(&huart5) != HAL_OK)
  {
    Error_Handler();
  }

}

static void MX_USART1_UART_Init(void)
{

  huart1.Instance = USART1;
  huart1.Init.BaudRate = 115200;
  huart1.Init.WordLength = UART_WORDLENGTH_8B;
  huart1.Init.StopBits = UART_STOPBITS_1;
  huart1.Init.Parity = UART_PARITY_NONE;
  huart1.Init.Mode = UART_MODE_TX_RX;
  huart1.Init.HwFlowCtl = UART_HWCONTROL_NONE;
  huart1.Init.OverSampling = UART_OVERSAMPLING_16;
  huart1.Init.OneBitSampling = UART_ONE_BIT_SAMPLE_DISABLE;
  huart1.AdvancedInit.AdvFeatureInit = UART_ADVFEATURE_NO_INIT;
  if (HAL_UART_Init(&huart1) != HAL_OK)
  {
    Error_Handler();
  }

}

static void MX_USART2_UART_Init(void)
{

  huart2.Instance = USART2;
  huart2.Init.BaudRate = 1000000;
  huart2.Init.WordLength = UART_WORDLENGTH_8B;
  huart2.Init.StopBits = UART_STOPBITS_1;
  huart2.Init.Parity = UART_PARITY_NONE;
  huart2.Init.Mode = UART_MODE_TX_RX;
  huart2.Init.HwFlowCtl = UART_HWCONTROL_NONE;
  huart2.Init.OverSampling = UART_OVERSAMPLING_16;
  huart2.Init.OneBitSampling = UART_ONE_BIT_SAMPLE_DISABLE;
  huart2.AdvancedInit.AdvFeatureInit = UART_ADVFEATURE_NO_INIT;
  if (HAL_UART_Init(&huart2) != HAL_OK)
  {
    Error_Handler();
  }

}

static void MX_USART3_UART_Init(void)
{

  huart3.Instance = USART3;
  huart3.Init.BaudRate = 115200;
  huart3.Init.WordLength = UART_WORDLENGTH_8B;
  huart3.Init.StopBits = UART_STOPBITS_1;
  huart3.Init.Parity = UART_PARITY_NONE;
  huart3.Init.Mode = UART_MODE_TX_RX;
  huart3.Init.HwFlowCtl = UART_HWCONTROL_NONE;
  huart3.Init.OverSampling = UART_OVERSAMPLING_16;
  huart3.Init.OneBitSampling = UART_ONE_BIT_SAMPLE_DISABLE;
  huart3.AdvancedInit.AdvFeatureInit = UART_ADVFEATURE_NO_INIT;
  if (HAL_UART_Init(&huart3) != HAL_OK)
  {
    Error_Handler();
  }

}

static void MX_GPIO_Init(void)
{
  GPIO_InitTypeDef GPIO_InitStruct = {0};

  /* GPIO Ports Clock Enable */
  __HAL_RCC_GPIOE_CLK_ENABLE();
  __HAL_RCC_GPIOC_CLK_ENABLE();
  __HAL_RCC_GPIOF_CLK_ENABLE();
  __HAL_RCC_GPIOH_CLK_ENABLE();
  __HAL_RCC_GPIOA_CLK_ENABLE();
  __HAL_RCC_GPIOB_CLK_ENABLE();
  __HAL_RCC_GPIOD_CLK_ENABLE();
  __HAL_RCC_GPIOG_CLK_ENABLE();

  /*Configure GPIO pin Output Level */
  HAL_GPIO_WritePin(GPIOE, GPIO_OUT_SPI_CS_SDCARD_Pin|GPIO_OUT_SPI_CS_LCD_Pin, GPIO_PIN_RESET);

  /*Configure GPIO pin Output Level */
  HAL_GPIO_WritePin(GPIOB, LD1_Pin|LD3_Pin|LD2_Pin, GPIO_PIN_RESET);

  /*Configure GPIO pin Output Level */
  HAL_GPIO_WritePin(GPIOG, GPIO_PIN_6, GPIO_PIN_RESET);

  /*Configure GPIO pins : GPIO_OUT_SPI_CS_SDCARD_Pin GPIO_OUT_SPI_CS_LCD_Pin */
  GPIO_InitStruct.Pin = GPIO_OUT_SPI_CS_SDCARD_Pin|GPIO_OUT_SPI_CS_LCD_Pin;
  GPIO_InitStruct.Mode = GPIO_MODE_OUTPUT_PP;
  GPIO_InitStruct.Pull = GPIO_NOPULL;
  GPIO_InitStruct.Speed = GPIO_SPEED_FREQ_LOW;
  HAL_GPIO_Init(GPIOE, &GPIO_InitStruct);

  /*Configure GPIO pins : GPIO_EXTI2_PROXY_TOF_SENS_IRQ_Pin GPIO_EXTI3_IMU_IRQ_Pin GPIO_EXTI4_KPAD_IRQ_Pin GPIO_EXTI8_USER_BUT1_IRQ_Pin
                           GPIO_EXTI9_USER_BUT2_IRQ_Pin GPIO_EXTI10_BUMP1_IRQ_Pin GPIO_EXTI11_BUMP2_IRQ_Pin GPIO_EXTI12_BUMP3_IRQ_Pin
                           GPIO_EXTI13_BUMP4_IRQ_Pin */
  GPIO_InitStruct.Pin = GPIO_EXTI2_PROXY_TOF_SENS_IRQ_Pin|GPIO_EXTI3_IMU_IRQ_Pin|GPIO_EXTI4_KPAD_IRQ_Pin|GPIO_EXTI8_USER_BUT1_IRQ_Pin
                          |GPIO_EXTI9_USER_BUT2_IRQ_Pin|GPIO_EXTI10_BUMP1_IRQ_Pin|GPIO_EXTI11_BUMP2_IRQ_Pin|GPIO_EXTI12_BUMP3_IRQ_Pin
                          |GPIO_EXTI13_BUMP4_IRQ_Pin;
  GPIO_InitStruct.Mode = GPIO_MODE_IT_RISING;
  GPIO_InitStruct.Pull = GPIO_NOPULL;
  HAL_GPIO_Init(GPIOF, &GPIO_InitStruct);

  /*Configure GPIO pins : RMII_MDC_Pin RMII_RXD0_Pin RMII_RXD1_Pin */
  GPIO_InitStruct.Pin = RMII_MDC_Pin|RMII_RXD0_Pin|RMII_RXD1_Pin;
  GPIO_InitStruct.Mode = GPIO_MODE_AF_PP;
  GPIO_InitStruct.Pull = GPIO_NOPULL;
  GPIO_InitStruct.Speed = GPIO_SPEED_FREQ_VERY_HIGH;
  GPIO_InitStruct.Alternate = GPIO_AF11_ETH;
  HAL_GPIO_Init(GPIOC, &GPIO_InitStruct);

  /*Configure GPIO pins : RMII_REF_CLK_Pin RMII_MDIO_Pin RMII_CRS_DV_Pin */
  GPIO_InitStruct.Pin = RMII_REF_CLK_Pin|RMII_MDIO_Pin|RMII_CRS_DV_Pin;
  GPIO_InitStruct.Mode = GPIO_MODE_AF_PP;
  GPIO_InitStruct.Pull = GPIO_NOPULL;
  GPIO_InitStruct.Speed = GPIO_SPEED_FREQ_VERY_HIGH;
  GPIO_InitStruct.Alternate = GPIO_AF11_ETH;
  HAL_GPIO_Init(GPIOA, &GPIO_InitStruct);

  /*Configure GPIO pins : LD1_Pin LD3_Pin LD2_Pin */
  GPIO_InitStruct.Pin = LD1_Pin|LD3_Pin|LD2_Pin;
  GPIO_InitStruct.Mode = GPIO_MODE_OUTPUT_PP;
  GPIO_InitStruct.Pull = GPIO_NOPULL;
  GPIO_InitStruct.Speed = GPIO_SPEED_FREQ_LOW;
  HAL_GPIO_Init(GPIOB, &GPIO_InitStruct);

  /*Configure GPIO pin : RMII_TXD1_Pin */
  GPIO_InitStruct.Pin = RMII_TXD1_Pin;
  GPIO_InitStruct.Mode = GPIO_MODE_AF_PP;
  GPIO_InitStruct.Pull = GPIO_NOPULL;
  GPIO_InitStruct.Speed = GPIO_SPEED_FREQ_VERY_HIGH;
  GPIO_InitStruct.Alternate = GPIO_AF11_ETH;
  HAL_GPIO_Init(RMII_TXD1_GPIO_Port, &GPIO_InitStruct);

  /*Configure GPIO pin : PG6 */
  GPIO_InitStruct.Pin = GPIO_PIN_6;
  GPIO_InitStruct.Mode = GPIO_MODE_OUTPUT_PP;
  GPIO_InitStruct.Pull = GPIO_NOPULL;
  GPIO_InitStruct.Speed = GPIO_SPEED_FREQ_LOW;
  HAL_GPIO_Init(GPIOG, &GPIO_InitStruct);

  /*Configure GPIO pin : USB_OverCurrent_Pin */
  GPIO_InitStruct.Pin = USB_OverCurrent_Pin;
  GPIO_InitStruct.Mode = GPIO_MODE_INPUT;
  GPIO_InitStruct.Pull = GPIO_NOPULL;
  HAL_GPIO_Init(USB_OverCurrent_GPIO_Port, &GPIO_InitStruct);

  /*Configure GPIO pins : USB_SOF_Pin USB_ID_Pin USB_DM_Pin USB_DP_Pin */
  GPIO_InitStruct.Pin = USB_SOF_Pin|USB_ID_Pin|USB_DM_Pin|USB_DP_Pin;
  GPIO_InitStruct.Mode = GPIO_MODE_AF_PP;
  GPIO_InitStruct.Pull = GPIO_NOPULL;
  GPIO_InitStruct.Speed = GPIO_SPEED_FREQ_VERY_HIGH;
  GPIO_InitStruct.Alternate = GPIO_AF10_OTG_FS;
  HAL_GPIO_Init(GPIOA, &GPIO_InitStruct);

  /*Configure GPIO pin : USB_VBUS_Pin */
  GPIO_InitStruct.Pin = USB_VBUS_Pin;
  GPIO_InitStruct.Mode = GPIO_MODE_INPUT;
  GPIO_InitStruct.Pull = GPIO_NOPULL;
  HAL_GPIO_Init(USB_VBUS_GPIO_Port, &GPIO_InitStruct);

  /*Configure GPIO pins : RMII_TX_EN_Pin RMII_TXD0_Pin */
  GPIO_InitStruct.Pin = RMII_TX_EN_Pin|RMII_TXD0_Pin;
  GPIO_InitStruct.Mode = GPIO_MODE_AF_PP;
  GPIO_InitStruct.Pull = GPIO_NOPULL;
  GPIO_InitStruct.Speed = GPIO_SPEED_FREQ_VERY_HIGH;
  GPIO_InitStruct.Alternate = GPIO_AF11_ETH;
  HAL_GPIO_Init(GPIOG, &GPIO_InitStruct);

}

void Error_Handler(void)
{
  __disable_irq();
  while (1)
  {
  }
}
